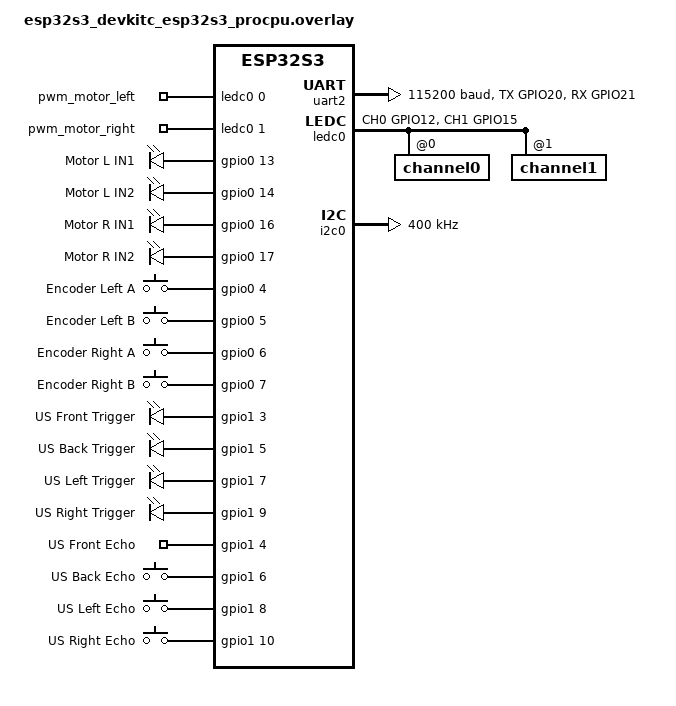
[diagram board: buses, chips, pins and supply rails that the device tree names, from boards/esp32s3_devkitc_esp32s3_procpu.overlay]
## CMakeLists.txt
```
cmake_minimum_required(VERSION 3.20.0)

find_package(Zephyr REQUIRED HINTS $ENV{ZEPHYR_BASE})
project(ecu)

target_include_directories(app PRIVATE inc)

target_sources(app PRIVATE
    src/main.c
    src/motor.c
    src/encoder.c
    src/ultrasonic.c
    src/uart_gateway.c
    src/imu.c
)
```

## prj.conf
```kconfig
CONFIG_ESP32_USE_UNSUPPORTED_REVISION=y

# Peripherals
CONFIG_GPIO=y
CONFIG_PWM=y
CONFIG_SERIAL=y
CONFIG_UART_INTERRUPT_DRIVEN=y
CONFIG_I2C=y

# Stack & threading
CONFIG_MAIN_STACK_SIZE=4096
CONFIG_MAIN_THREAD_PRIORITY=3

# Console & logging
CONFIG_STDOUT_CONSOLE=y
CONFIG_LOG=y
CONFIG_LOG_DEFAULT_LEVEL=3
```

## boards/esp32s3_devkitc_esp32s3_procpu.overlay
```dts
/*
 * Robot Car ECU - Device Tree Overlay
 * Board: ESP32-S3 DevKitC
 *
 * Pinout:
 *   MOTOR_L_ENA  GPIO12  PWM  (LEDC CH0)
 *   MOTOR_L_IN1  GPIO13  GPIO Output
 *   MOTOR_L_IN2  GPIO14  GPIO Output
 *   MOTOR_R_ENA  GPIO15  PWM  (LEDC CH1)
 *   MOTOR_R_IN1  GPIO16  GPIO Output
 *   MOTOR_R_IN2  GPIO17  GPIO Output
 *   ENC_L_A      GPIO4   GPIO Interrupt (both edges)
 *   ENC_L_B      GPIO5   GPIO Interrupt (both edges)
 *   ENC_R_A      GPIO6   GPIO Interrupt (both edges)
 *   ENC_R_B      GPIO7   GPIO Interrupt (both edges)
 *   IMU_SDA      GPIO8   I2C0
 *   IMU_SCL      GPIO9   I2C0
 *   UART2_TX     GPIO20  UART2
 *   UART2_RX     GPIO21  UART2
 *   US_FRONT_TRIG GPIO35 GPIO Output (gpio1 pin 3)
 *   US_FRONT_ECHO GPIO36 GPIO Input Capture ISR (gpio1 pin 4)
 *   US_BACK_TRIG  GPIO37 GPIO Output (gpio1 pin 5)
 *   US_BACK_ECHO  GPIO38 GPIO Input Capture ISR (gpio1 pin 6)
 *   US_LEFT_TRIG  GPIO39 GPIO Output (gpio1 pin 7)
 *   US_LEFT_ECHO  GPIO40 GPIO Input Capture ISR (gpio1 pin 8)
 *   US_RIGHT_TRIG GPIO41 GPIO Output (gpio1 pin 9)
 *   US_RIGHT_ECHO GPIO42 GPIO Input Capture ISR (gpio1 pin 10)
 */

#include <zephyr/dt-bindings/pinctrl/esp32s3-pinctrl.h>
#include <zephyr/dt-bindings/gpio/gpio.h>
#include <zephyr/dt-bindings/pwm/pwm.h>
#include <zephyr/dt-bindings/i2c/i2c.h>

/ {
	aliases {
		pwm-motor-left  = &pwm_motor_left;
		pwm-motor-right = &pwm_motor_right;
	};

	/* PWM Motor Speed Nodes */
	motors {
		compatible = "pwm-leds";
		pwm_motor_left: pwm_motor_left {
			/* LEDC CH0 — GPIO12 — 1 kHz period (1,000,000 ns) */
			pwms = <&ledc0 0 1000000 PWM_POLARITY_NORMAL>;
		};
		pwm_motor_right: pwm_motor_right {
			/* LEDC CH1 — GPIO15 — 1 kHz period (1,000,000 ns) */
			pwms = <&ledc0 1 1000000 PWM_POLARITY_NORMAL>;
		};
	};

	/* Motor Direction GPIO (Outputs) */
	motor_gpios {
		compatible = "gpio-leds";
		motor_l_in1: motor_l_in1 {
			gpios = <&gpio0 13 GPIO_ACTIVE_HIGH>;
			label = "Motor L IN1";
		};
		motor_l_in2: motor_l_in2 {
			gpios = <&gpio0 14 GPIO_ACTIVE_HIGH>;
			label = "Motor L IN2";
		};
		motor_r_in1: motor_r_in1 {
			gpios = <&gpio0 16 GPIO_ACTIVE_HIGH>;
			label = "Motor R IN1";
		};
		motor_r_in2: motor_r_in2 {
			gpios = <&gpio0 17 GPIO_ACTIVE_HIGH>;
			label = "Motor R IN2";
		};
	};

	/* Encoder GPIO (Inputs, quadrature — both edges) */
	encoder_gpios {
		compatible = "gpio-keys";
		enc_l_a: enc_l_a {
			gpios = <&gpio0 4 GPIO_ACTIVE_HIGH>;
			label = "Encoder Left A";
		};
		enc_l_b: enc_l_b {
			gpios = <&gpio0 5 GPIO_ACTIVE_HIGH>;
			label = "Encoder Left B";
		};
		enc_r_a: enc_r_a {
			gpios = <&gpio0 6 GPIO_ACTIVE_HIGH>;
			label = "Encoder Right A";
		};
		enc_r_b: enc_r_b {
			gpios = <&gpio0 7 GPIO_ACTIVE_HIGH>;
			label = "Encoder Right B";
		};
	};

	/* Ultrasonic Trigger GPIO (Outputs) */
	us_trigs {
		compatible = "gpio-leds";
		us_front_trig: us_front_trig {
			gpios = <&gpio1 3 GPIO_ACTIVE_HIGH>; /* GPIO35 */
			label = "US Front Trigger";
		};
		us_back_trig: us_back_trig {
			gpios = <&gpio1 5 GPIO_ACTIVE_HIGH>; /* GPIO37 */
			label = "US Back Trigger";
		};
		us_left_trig: us_left_trig {
			gpios = <&gpio1 7 GPIO_ACTIVE_HIGH>; /* GPIO39 */
			label = "US Left Trigger";
		};
		us_right_trig: us_right_trig {
			gpios = <&gpio1 9 GPIO_ACTIVE_HIGH>; /* GPIO41 */
			label = "US Right Trigger";
		};
	};

	/* Ultrasonic Echo GPIO (Inputs — both edges for input capture) */
	us_echos {
		compatible = "gpio-keys";
		us_front_echo: us_front_echo {
			gpios = <&gpio1 4 (GPIO_ACTIVE_HIGH | GPIO_PULL_DOWN)>; /* GPIO36 */
			label = "US Front Echo";
		};
		us_back_echo: us_back_echo {
			gpios = <&gpio1 6 (GPIO_ACTIVE_HIGH | GPIO_PULL_DOWN)>; /* GPIO38 */
			label = "US Back Echo";
		};
		us_left_echo: us_left_echo {
			gpios = <&gpio1 8 (GPIO_ACTIVE_HIGH | GPIO_PULL_DOWN)>; /* GPIO40 */
			label = "US Left Echo";
		};
		us_right_echo: us_right_echo {
			gpios = <&gpio1 10 (GPIO_ACTIVE_HIGH | GPIO_PULL_DOWN)>; /* GPIO42 */
			label = "US Right Echo";
		};
	};
};

/* ─── Pin Control ─────────────────────────────────────────── */
&pinctrl {
	/* UART2: TX=GPIO20, RX=GPIO21 */
	uart2_default: uart2_default {
		group1 {
			pinmux = <UART2_TX_GPIO20>, <UART2_RX_GPIO21>;
		};
	};
	uart2_sleep: uart2_sleep {
		group1 {
			pinmux = <UART2_TX_GPIO20>, <UART2_RX_GPIO21>;
		};
	};

	/* LEDC: CH0=GPIO12 (motor left), CH1=GPIO15 (motor right) */
	ledc0_default: ledc0_default {
		group1 {
			pinmux = <LEDC_CH0_GPIO12>, <LEDC_CH1_GPIO15>;
		};
	};

	/* I2C0: SDA=GPIO8, SCL=GPIO9 */
	i2c0_default: i2c0_default {
		group1 {
			pinmux = <I2C0_SDA_GPIO8>, <I2C0_SCL_GPIO9>;
			bias-pull-up;
			drive-open-drain;
			output-high;
		};
	};
};

/* ─── UART2 ───────────────────────────────────────────────── */
&uart2 {
	status = "okay";
	current-speed = <115200>;
	pinctrl-0 = <&uart2_default>;
	pinctrl-1 = <&uart2_sleep>;
	pinctrl-names = "default", "sleep";
};

/* ─── LEDC (Motor PWM) ────────────────────────────────────── */
&ledc0 {
	pinctrl-0 = <&ledc0_default>;
	pinctrl-names = "default";
	status = "okay";
	#address-cells = <1>;
	#size-cells = <0>;

	/* Timer 0: shared by both motor channels */
	channel0@0 {
		reg = <0>;
		timer = <0>;
	};
	channel1@1 {
		reg = <1>;
		timer = <0>;
	};
};

/* ─── I2C0 (IMU — MPU6050 or similar) ───────────────────── */
&i2c0 {
	status = "okay";
	clock-frequency = <I2C_BITRATE_FAST>; /* 400 kHz */
	pinctrl-0 = <&i2c0_default>;
	pinctrl-names = "default";
	#address-cells = <1>;
	#size-cells = <0>;
	/* Add IMU child node here, e.g.:
	 * mpu6050@68 { compatible = "invensense,mpu6050"; reg = <0x68>; ... };
	 */
};
```

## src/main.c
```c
/*
 * main.c — Main ECU Telemetry & Control Loop
 */

#include <zephyr/kernel.h>
#include <zephyr/logging/log.h>

#include "motor.h"
#include "encoder.h"
#include "ultrasonic.h"
#include "imu.h"
#include "uart_gateway.h"

LOG_MODULE_REGISTER(main, LOG_LEVEL_INF);

int main(void){
	LOG_INF("Robot Car ECU starting...");

	if(motor_init() < 0){
		LOG_ERR("Failed to initialize motors");
		return -1;
	}

	if(encoder_init() < 0){
		LOG_ERR("Failed to initialize encoders");
		return -1;
	}

	if(ultrasonic_init() < 0){
		LOG_ERR("Failed to initialize ultrasonics");
		return -1;
	}

	if(imu_init() < 0){
		LOG_ERR("Failed to initialize IMU");
		return -1;
	}


	if(uart_gateway_init() < 0){
		LOG_ERR("Failed to initialize UART Gateway");
		return -1;
	}

	LOG_INF("All modules initialized. Starting 10 Hz telemetry loop.");

	while(1){
		/* 1. Retrieve latest command from UART gateway */
		int16_t speed_l = 0;
		int16_t speed_r = 0;
		uart_gateway_get_cmd(&speed_l, &speed_r);

		/* 2. Update motor PWMs */
		motor_set(speed_l, speed_r);

		/* 3. Retrieve latest sensor data */
		uint32_t dist_front = ultrasonic_get_dist(US_FRONT);
		uint32_t dist_back  = ultrasonic_get_dist(US_BACK);
		uint32_t dist_left  = ultrasonic_get_dist(US_LEFT);
		uint32_t dist_right = ultrasonic_get_dist(US_RIGHT);

		int32_t ticks_l = encoder_get_left();
		int32_t ticks_r = encoder_get_right();

		/* 4. Transmit status frame */
		uart_gateway_send_telemetry(
			dist_front, dist_back, dist_left, dist_right,
			ticks_l, ticks_r
		);

		/* 5. Sleep until next cycle(100 ms = 10 Hz) */
		k_msleep(100);
	}

	return 0;
}
```

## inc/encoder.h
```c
#ifndef ENCODER_H
#define ENCODER_H

#include <stdint.h>

/**
 * encoder_init() - Configure quadrature encoder GPIO interrupts.
 *
 * Both A and B channels of each encoder are set up with both-edge
 * interrupts to achieve X4 quadrature decoding.
 *
 * Return: 0 on success, negative errno on failure.
 */
int encoder_init(void);

/**
 * encoder_get_left()  - Read left  wheel tick counter (signed).
 * encoder_get_right() - Read right wheel tick counter (signed).
 *
 * Positive = forward, negative = reverse.
 * Counters are never reset automatically; call encoder_reset() if needed.
 */
int32_t encoder_get_left(void);
int32_t encoder_get_right(void);

/**
 * encoder_reset() - Zero both tick counters.
 */
void encoder_reset(void);

#endif /* ENCODER_H */
```

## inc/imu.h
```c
#ifndef IMU_H
#define IMU_H

#include <stdint.h>

/**
 * @brief Initialize the IMU (MPU6050) and start its 100Hz reading thread.
 * @return 0 on success, negative error code on failure.
 */
int imu_init(void);

#endif /* IMU_H */
```

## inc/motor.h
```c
#ifndef MOTOR_H
#define MOTOR_H

#include <stdint.h>

/**
 * motor_init() - Configure PWM and direction GPIO pins for both motors.
 *
 * Must be called once before motor_set().
 * Return: 0 on success, negative errno on failure.
 */
int motor_init(void);

/**
 * motor_set() - Apply speed and direction to both motors.
 *
 * @speed_l: Left  motor speed (-255 = full reverse, +255 = full forward, 0 = stop)
 * @speed_r: Right motor speed (-255 = full reverse, +255 = full forward, 0 = stop)
 *
 * Values outside [-255, 255] are clamped automatically.
 */
void motor_set(int16_t speed_l, int16_t speed_r);

#endif /* MOTOR_H */
```

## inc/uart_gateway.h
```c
#ifndef UART_GATEWAY_H
#define UART_GATEWAY_H

#include <stdint.h>

/**
 * uart_gateway_init() - Set up UART2 with interrupt-driven RX.
 *
 * Must be called once before any other uart_gateway_* function.
 * Return: 0 on success, negative errno on failure.
 */
int uart_gateway_init(void);

/**
 * uart_gateway_get_cmd() - Retrieve the latest parsed motor command.
 *
 * Thread-safe (mutex protected). Returns the last command received
 * via "M,<left>,<right>\n". Values are 0,0 until first command arrives.
 *
 * @speed_l: Output — left  motor speed (-255 to +255)
 * @speed_r: Output — right motor speed (-255 to +255)
 */
void uart_gateway_get_cmd(int16_t *speed_l, int16_t *speed_r);

/**
 * uart_gateway_send_telemetry() - Transmit one telemetry frame over UART.
 *
 * Sends: "T,<front>,<back>,<left>,<right>,<enc_l>,<enc_r>\n"
 *
 * @dist_front: Front ultrasonic distance in cm
 * @dist_back:  Back  ultrasonic distance in cm
 * @dist_left:  Left  ultrasonic distance in cm
 * @dist_right: Right ultrasonic distance in cm
 * @enc_l:      Left  encoder tick count (signed)
 * @enc_r:      Right encoder tick count (signed)
 */
void uart_gateway_send_telemetry(uint32_t dist_front, uint32_t dist_back,
				 uint32_t dist_left,  uint32_t dist_right,
				 int32_t  enc_l,      int32_t  enc_r);

/**
 * uart_gateway_send_imu() - Transmit one IMU 6-axis frame over UART.
 *
 * Sends: "I,<ax>,<ay>,<az>,<gx>,<gy>,<gz>\n"
 *
 * @ax, ay, az: Accelerometer raw readings
 * @gx, gy, gz: Gyroscope raw readings
 */
void uart_gateway_send_imu(int16_t ax, int16_t ay, int16_t az,
			   int16_t gx, int16_t gy, int16_t gz);

#endif /* UART_GATEWAY_H */
```

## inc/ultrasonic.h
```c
#ifndef ULTRASONIC_H
#define ULTRASONIC_H

#include <stdint.h>

/** Sensor index constants */
#define US_FRONT  0
#define US_BACK   1
#define US_LEFT   2
#define US_RIGHT  3
#define US_COUNT  4

/**
 * ultrasonic_init() - Configure TRIG outputs, ECHO input-capture ISRs,
 *                     and start the four trigger threads.
 *
 * Return: 0 on success, negative errno on failure.
 */
int ultrasonic_init(void);

/**
 * ultrasonic_get_dist() - Read latest distance measurement for a sensor.
 *
 * @idx: Sensor index (US_FRONT / US_BACK / US_LEFT / US_RIGHT)
 *
 * Return: Distance in cm, or 999 if out of range / timeout.
 */
uint32_t ultrasonic_get_dist(int idx);

#endif /* ULTRASONIC_H */
```

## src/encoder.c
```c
/*
 * encoder.c — Quadrature wheel encoder decoding via GPIO interrupts
 *
 * Pins (from device tree):
 *   ENC_L_A  GPIO4   Both-edge interrupt
 *   ENC_L_B  GPIO5   Both-edge interrupt
 *   ENC_R_A  GPIO6   Both-edge interrupt
 *   ENC_R_B  GPIO7   Both-edge interrupt
 *
 * Decode strategy (X4 — all edges of A and B):
 *   A-edge ISR: if A==B → forward (+1), else reverse (-1)
 *   B-edge ISR: if A!=B → forward (+1), else reverse (-1)
 */

#include "encoder.h"

#include <zephyr/kernel.h>
#include <zephyr/drivers/gpio.h>
#include <zephyr/sys/util.h>
#include <zephyr/logging/log.h>

LOG_MODULE_REGISTER(encoder, LOG_LEVEL_INF);

/* ── Hardware bindings ─────────────────────────────────────── */

static const struct gpio_dt_spec enc_l_a =
	GPIO_DT_SPEC_GET(DT_NODELABEL(enc_l_a), gpios);
static const struct gpio_dt_spec enc_l_b =
	GPIO_DT_SPEC_GET(DT_NODELABEL(enc_l_b), gpios);
static const struct gpio_dt_spec enc_r_a =
	GPIO_DT_SPEC_GET(DT_NODELABEL(enc_r_a), gpios);
static const struct gpio_dt_spec enc_r_b =
	GPIO_DT_SPEC_GET(DT_NODELABEL(enc_r_b), gpios);

/* ── State ─────────────────────────────────────────────────── */

static volatile int32_t ticks_l;
static volatile int32_t ticks_r;

static struct gpio_callback enc_l_a_cb;
static struct gpio_callback enc_l_b_cb;
static struct gpio_callback enc_r_a_cb;
static struct gpio_callback enc_r_b_cb;

/* ── ISRs ──────────────────────────────────────────────────── */

static void enc_l_a_isr(const struct device *dev,
			 struct gpio_callback *cb, uint32_t pins)
{
	int a = gpio_pin_get_dt(&enc_l_a);
	int b = gpio_pin_get_dt(&enc_l_b);

	ticks_l += (a == b) ? 1 : -1;
}

static void enc_l_b_isr(const struct device *dev,
			 struct gpio_callback *cb, uint32_t pins)
{
	int a = gpio_pin_get_dt(&enc_l_a);
	int b = gpio_pin_get_dt(&enc_l_b);

	ticks_l += (a != b) ? 1 : -1;
}

static void enc_r_a_isr(const struct device *dev,
			 struct gpio_callback *cb, uint32_t pins)
{
	int a = gpio_pin_get_dt(&enc_r_a);
	int b = gpio_pin_get_dt(&enc_r_b);

	ticks_r += (a == b) ? 1 : -1;
}

static void enc_r_b_isr(const struct device *dev,
			 struct gpio_callback *cb, uint32_t pins)
{
	int a = gpio_pin_get_dt(&enc_r_a);
	int b = gpio_pin_get_dt(&enc_r_b);

	ticks_r += (a != b) ? 1 : -1;
}

/* ── Public API ────────────────────────────────────────────── */

int encoder_init(void)
{
	/* Descriptor table — makes the init loop compact and uniform */
	const struct {
		const struct gpio_dt_spec *spec;
		struct gpio_callback      *cb;
		gpio_callback_handler_t    handler;
	} pins[] = {
		{ &enc_l_a, &enc_l_a_cb, enc_l_a_isr },
		{ &enc_l_b, &enc_l_b_cb, enc_l_b_isr },
		{ &enc_r_a, &enc_r_a_cb, enc_r_a_isr },
		{ &enc_r_b, &enc_r_b_cb, enc_r_b_isr },
	};

	for (int i = 0; i < ARRAY_SIZE(pins); i++) {
		gpio_pin_configure_dt(pins[i].spec, GPIO_INPUT | GPIO_PULL_UP);
		gpio_pin_interrupt_configure_dt(pins[i].spec,
						GPIO_INT_EDGE_BOTH);
		gpio_init_callback(pins[i].cb, pins[i].handler,
				   BIT(pins[i].spec->pin));
		gpio_add_callback(pins[i].spec->port, pins[i].cb);
	}

	LOG_INF("Encoders initialized (X4 quadrature)");
	return 0;
}

int32_t encoder_get_left(void)
{
	return ticks_l;
}

int32_t encoder_get_right(void)
{
	return ticks_r;
}

void encoder_reset(void)
{
	ticks_l = 0;
	ticks_r = 0;
}
```

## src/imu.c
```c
/*
 * imu.c — MPU6050 6-axis IMU reader
 *
 * Runs a dedicated thread at 100 Hz (10ms) that reads raw 
 * accelerometer and gyroscope data over I2C0 and streams it
 * to UART using uart_gateway_send_imu().
 */

#include "imu.h"
#include "uart_gateway.h"

#include <zephyr/kernel.h>
#include <zephyr/device.h>
#include <zephyr/drivers/i2c.h>
#include <zephyr/logging/log.h>

LOG_MODULE_REGISTER(imu, LOG_LEVEL_INF);

#define MPU6050_ADDR 0x68

static const struct device *i2c_dev = DEVICE_DT_GET(DT_NODELABEL(i2c0));

#define IMU_THREAD_STACK_SIZE 2048
#define IMU_THREAD_PRIORITY   5

K_THREAD_STACK_DEFINE(imu_stack, IMU_THREAD_STACK_SIZE);
static struct k_thread imu_thread_data;

/* Helper to write a single register to MPU6050 */
static int mpu_write_reg(uint8_t reg, uint8_t val)
{
	uint8_t buf[2] = {reg, val};
	return i2c_write(i2c_dev, buf, 2, MPU6050_ADDR);
}

static void imu_thread(void *arg1, void *arg2, void *arg3)
{
	ARG_UNUSED(arg1);
	ARG_UNUSED(arg2);
	ARG_UNUSED(arg3);

	while (1) {
		uint8_t reg = 0x3B; /* ACCEL_XOUT_H */
		uint8_t data[14];

		/* Read 14 bytes (Accel, Temp, Gyro) in one burst */
		int ret = i2c_write_read(i2c_dev, MPU6050_ADDR, &reg, 1, data, 14);
		if (ret == 0) {
			int16_t ax = (data[0] << 8) | data[1];
			int16_t ay = (data[2] << 8) | data[3];
			int16_t az = (data[4] << 8) | data[5];
			
			/* Skip temperature: data[6], data[7] */
			
			int16_t gx = (data[8] << 8)  | data[9];
			int16_t gy = (data[10] << 8) | data[11];
			int16_t gz = (data[12] << 8) | data[13];

			uart_gateway_send_imu(ax, ay, az, gx, gy, gz);
		} else {
			LOG_WRN("IMU I2C read failed: %d", ret);
		}

		k_msleep(10); /* 100 Hz */
	}
}

int imu_init(void)
{
	if (!device_is_ready(i2c_dev)) {
		LOG_ERR("I2C0 device not ready");
		return -ENODEV;
	}

	/* 1. Device Reset */
	mpu_write_reg(0x6B, 0x80);
	k_msleep(100);

	/* 2. Wake up (Clear sleep bit) */
	mpu_write_reg(0x6B, 0x00);
	k_msleep(100);

	/* 3. Set Gyro Full Scale (+/- 500 deg/s) */
	mpu_write_reg(0x1B, 0x08);

	/* 4. Set Accel Full Scale (+/- 4g) */
	mpu_write_reg(0x1C, 0x08);

	/* 5. Verify WHO_AM_I */
	uint8_t reg = 0x75;
	uint8_t who = 0;
	if (i2c_write_read(i2c_dev, MPU6050_ADDR, &reg, 1, &who, 1) == 0) {
		LOG_INF("MPU6050 WHO_AM_I = 0x%02X", who);
		if (who != 0x68) {
			LOG_WRN("Unexpected WHO_AM_I (expected 0x68)");
		}
	} else {
		LOG_ERR("Failed to read WHO_AM_I");
		return -EIO;
	}

	/* Spawn 100Hz IMU reader thread */
	k_thread_create(&imu_thread_data,
			imu_stack,
			IMU_THREAD_STACK_SIZE,
			imu_thread,
			NULL, NULL, NULL,
			IMU_THREAD_PRIORITY,
			0,
			K_NO_WAIT);

	LOG_INF("IMU initialized (100 Hz streaming)");
	return 0;
}
```

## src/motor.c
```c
/*
 * motor.c — DC motor control via LEDC PWM + GPIO direction pins
 *
 * Pins (from device tree):
 *   MOTOR_L_ENA  GPIO12  LEDC CH0 (PWM speed)
 *   MOTOR_L_IN1  GPIO13  GPIO Output (direction)
 *   MOTOR_L_IN2  GPIO14  GPIO Output (direction)
 *   MOTOR_R_ENA  GPIO15  LEDC CH1 (PWM speed)
 *   MOTOR_R_IN1  GPIO16  GPIO Output (direction)
 *   MOTOR_R_IN2  GPIO17  GPIO Output (direction)
 */

#include "motor.h"

#include <zephyr/kernel.h>
#include <zephyr/drivers/gpio.h>
#include <zephyr/drivers/pwm.h>
#include <zephyr/sys/util.h>
#include <zephyr/logging/log.h>
#include <stdlib.h>

LOG_MODULE_REGISTER(motor, LOG_LEVEL_INF);

/* ── Hardware bindings ─────────────────────────────────────── */

static const struct pwm_dt_spec motor_l_pwm =
	PWM_DT_SPEC_GET(DT_NODELABEL(pwm_motor_left));
static const struct pwm_dt_spec motor_r_pwm =
	PWM_DT_SPEC_GET(DT_NODELABEL(pwm_motor_right));

static const struct gpio_dt_spec motor_l_in1 =
	GPIO_DT_SPEC_GET(DT_NODELABEL(motor_l_in1), gpios);
static const struct gpio_dt_spec motor_l_in2 =
	GPIO_DT_SPEC_GET(DT_NODELABEL(motor_l_in2), gpios);
static const struct gpio_dt_spec motor_r_in1 =
	GPIO_DT_SPEC_GET(DT_NODELABEL(motor_r_in1), gpios);
static const struct gpio_dt_spec motor_r_in2 =
	GPIO_DT_SPEC_GET(DT_NODELABEL(motor_r_in2), gpios);

/* ── Public API ────────────────────────────────────────────── */

int motor_init(void){
	if(!pwm_is_ready_dt(&motor_l_pwm) ||
	    !pwm_is_ready_dt(&motor_r_pwm)){
		LOG_ERR("PWM devices not ready");
		return -ENODEV;
	}

	gpio_pin_configure_dt(&motor_l_in1, GPIO_OUTPUT_INACTIVE);
	gpio_pin_configure_dt(&motor_l_in2, GPIO_OUTPUT_INACTIVE);
	gpio_pin_configure_dt(&motor_r_in1, GPIO_OUTPUT_INACTIVE);
	gpio_pin_configure_dt(&motor_r_in2, GPIO_OUTPUT_INACTIVE);

	/* Start stopped */
	motor_set(0, 0);

	LOG_INF("Motors initialized");
	return 0;
}

void motor_set(int16_t speed_l, int16_t speed_r){
	speed_l = CLAMP(speed_l, -255, 255);
	speed_r = CLAMP(speed_r, -255, 255);

	/* Left motor — direction */
	gpio_pin_set_dt(&motor_l_in1, speed_l >= 0 ? 1 : 0);
	gpio_pin_set_dt(&motor_l_in2, speed_l >= 0 ? 0 : 1);

	/* Right motor — direction */
	gpio_pin_set_dt(&motor_r_in1, speed_r >= 0 ? 1 : 0);
	gpio_pin_set_dt(&motor_r_in2, speed_r >= 0 ? 0 : 1);

	/* PWM duty: map |speed| (0-255) → pulse width (0–period_ns) */
	uint32_t pulse_l =
		(motor_l_pwm.period * (uint32_t)abs(speed_l)) / 255U;
	uint32_t pulse_r =
		(motor_r_pwm.period * (uint32_t)abs(speed_r)) / 255U;

	pwm_set_pulse_dt(&motor_l_pwm, pulse_l);
	pwm_set_pulse_dt(&motor_r_pwm, pulse_r);
}
```

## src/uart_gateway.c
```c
/*
 * uart_gateway.c — UART Communication Gateway
 *
 * Supported commands (RX):
 *   "PING\n"          → replies "PONG\n"  (connectivity test)
 *   "M,<L>,<R>\n"    → sets motor speeds, e.g. "M,200,-150\n"
 *
 * Telemetry (TX, 10 Hz via uart_gateway_send_telemetry):
 *   "T,<front>,<back>,<left>,<right>,<enc_l>,<enc_r>\n"
 */

#include "uart_gateway.h"

#include <zephyr/kernel.h>
#include <zephyr/device.h>
#include <zephyr/drivers/uart.h>
#include <zephyr/logging/log.h>
#include <stdio.h>
#include <stdlib.h>
#include <string.h>

LOG_MODULE_REGISTER(uart_gateway, LOG_LEVEL_INF);

/* ── Hardware bindings ─────────────────────────────────────── */
static const struct device *const uart2_dev =
	DEVICE_DT_GET(DT_NODELABEL(uart2));

/* ── State ─────────────────────────────────────────────────── */
static int16_t cmd_speed_l;
static int16_t cmd_speed_r;
K_MUTEX_DEFINE(cmd_mutex);

#define UART_RX_BUF_LEN 64
static uint8_t rx_buf[UART_RX_BUF_LEN];
static int     rx_idx;

/* ── Internal TX helper (used inside ISR-safe context too) ─── */
static void send_raw(const char *str)
{
	while (*str) {
		uart_poll_out(uart2_dev, (uint8_t)(*str++));
	}
}

/* ── Receive Callback ──────────────────────────────────────── */
static void uart_cb(const struct device *dev, void *user_data){
	if(!uart_irq_update(dev)){
		return;
	}

	if(!uart_irq_rx_ready(dev)){
		return;
	}

	uint8_t c;

	while (uart_fifo_read(dev, &c, 1) == 1) {
		if (c == '\n' || c == '\r') {
			if (rx_idx > 0) {
				rx_buf[rx_idx] = '\0';

				/* ── PING test command ─────────────────── */
				if (strcmp((char *)rx_buf, "PING") == 0) {
					send_raw("PONG\n");

				/* ── Motor speed command ───────────────── */
				} else if (rx_idx >= 5 &&
					   rx_buf[0] == 'M' &&
					   rx_buf[1] == ',') {
					int l = 0, r = 0;

					if (sscanf((char *)&rx_buf[2],
						    "%d,%d", &l, &r) == 2) {
						k_mutex_lock(&cmd_mutex, K_NO_WAIT);
						cmd_speed_l = (int16_t)l;
						cmd_speed_r = (int16_t)r;
						k_mutex_unlock(&cmd_mutex);
					}
				}
			}
			rx_idx = 0;
		} else if (rx_idx < UART_RX_BUF_LEN - 1) {
			rx_buf[rx_idx++] = c;
		}
	}
}

int uart_gateway_init(void)
{
	if (!device_is_ready(uart2_dev)) {
		LOG_ERR("UART2 device not ready");
		return -ENODEV;
	}

	uart_irq_callback_user_data_set(uart2_dev, uart_cb, NULL);
	uart_irq_rx_enable(uart2_dev);

	/* Send boot banner so the laptop knows the ECU is alive */
	send_raw("ECU_READY\n");

	LOG_INF("UART Gateway initialized (115200 baud)");
	return 0;
}

void uart_gateway_get_cmd(int16_t *speed_l, int16_t *speed_r){
	if(speed_l == NULL || speed_r == NULL){
		return;
	}

	k_mutex_lock(&cmd_mutex, K_FOREVER);
	*speed_l = cmd_speed_l;
	*speed_r = cmd_speed_r;
	k_mutex_unlock(&cmd_mutex);
}

void uart_gateway_send_telemetry(uint32_t dist_front, uint32_t dist_back, uint32_t dist_left,  uint32_t dist_right, int32_t  enc_l, int32_t  enc_r){
	char tx_buf[96];

	snprintf(tx_buf, sizeof(tx_buf), "T,%u,%u,%u,%u,%d,%d\n", (unsigned)dist_front, (unsigned)dist_back, (unsigned)dist_left, (unsigned)dist_right, enc_l, enc_r);

	char *p = tx_buf;
	while(*p){
		uart_poll_out(uart2_dev, (uint8_t)(*p++));
	}
}

void uart_gateway_send_imu(int16_t ax, int16_t ay, int16_t az,
			   int16_t gx, int16_t gy, int16_t gz)
{
	char tx_buf[64];
	snprintf(tx_buf, sizeof(tx_buf), "I,%d,%d,%d,%d,%d,%d\n",
		 ax, ay, az, gx, gy, gz);
	// LOG_INF("Sending IMU data, ax=%d, ay=%d, az=%d, gx=%d, gy=%d, gz=%d",
	// 	ax, ay, az, gx, gy, gz);

	char *p = tx_buf;
	while (*p) {
		uart_poll_out(uart2_dev, (uint8_t)(*p++));
	}
}
```

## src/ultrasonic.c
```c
/*
 * ultrasonic.c — HC-SR04 distance measurement via GPIO ISR + RTOS state machine
 *
 * Race condition prevention:
 *   Each sensor has a state machine (IDLE / ARMED / CAPTURING).
 *   The ISR only acts when the trigger thread has explicitly moved the
 *   state to ARMED or CAPTURING.  Any edge received while IDLE is silently
 *   discarded, so noise between measurements cannot corrupt results.
 *
 *   Flow per measurement cycle:
 *     Thread                        ISR
 *     ──────────────────────────    ───────────────────────────────────
 *     k_sem_reset()                 (flush any stale gives)
 *     state = ARMED
 *     fire TRIG pulse
 *     k_sem_take(K_MSEC(30)) ──┐
 *                               │   rising edge → state==ARMED?
 *                               │     record rise timestamp
 *                               │     state = CAPTURING
 *                               │
 *                               │   falling edge → state==CAPTURING?
 *                               │     compute distance
 *                               │     state = IDLE
 *                               └── k_sem_give()
 *     state = IDLE (disarm)
 *     if timeout: dist = 999
 *     k_msleep(100)
 *
 * With GPIO_PULL_DOWN on ECHO pins:
 *   - No sensor connected → pin stays LOW → no rising edge → timeout → 999 cm
 *   - Real HC-SR04 connected → echo pulse drives pin HIGH → ISR fires correctly
 *
 * Pins (device tree, gpio1 = GPIO32+):
 *   US_FRONT_TRIG  GPIO35  Output
 *   US_FRONT_ECHO  GPIO36  Input (pull-down, both-edge ISR)
 *   US_BACK_TRIG   GPIO37  Output
 *   US_BACK_ECHO   GPIO38  Input (pull-down, both-edge ISR)
 *   US_LEFT_TRIG   GPIO39  Output
 *   US_LEFT_ECHO   GPIO40  Input (pull-down, both-edge ISR)
 *   US_RIGHT_TRIG  GPIO41  Output
 *   US_RIGHT_ECHO  GPIO42  Input (pull-down, both-edge ISR)
 */

#include "ultrasonic.h"

#include <zephyr/kernel.h>
#include <zephyr/drivers/gpio.h>
#include <zephyr/sys/util.h>
#include <zephyr/sys/time_units.h>
#include <zephyr/logging/log.h>

LOG_MODULE_REGISTER(ultrasonic, LOG_LEVEL_INF);

/* ── Sensor state machine ──────────────────────────────────── */

typedef enum {
	US_IDLE = 0,   /* Between measurements — ISR ignores all edges */
	US_ARMED,      /* TRIG fired — ISR waiting for rising edge     */
	US_CAPTURING,  /* Rising edge caught — ISR waiting for falling  */
} us_state_t;

/* ── Per-sensor data ───────────────────────────────────────── */

static volatile us_state_t us_state[US_COUNT];   /* State machine       */
static volatile uint32_t   us_rise_cyc[US_COUNT]; /* Rising edge timestamp */
static volatile uint32_t   us_dist_cm[US_COUNT];  /* Latest distance (cm)  */

static struct k_sem         us_sem[US_COUNT];      /* Thread ↔ ISR sync   */
static struct gpio_callback us_echo_cb[US_COUNT];

/* ── Hardware bindings ─────────────────────────────────────── */

static const struct gpio_dt_spec us_trig[US_COUNT] = {
	GPIO_DT_SPEC_GET(DT_NODELABEL(us_front_trig), gpios),
	GPIO_DT_SPEC_GET(DT_NODELABEL(us_back_trig),  gpios),
	GPIO_DT_SPEC_GET(DT_NODELABEL(us_left_trig),  gpios),
	GPIO_DT_SPEC_GET(DT_NODELABEL(us_right_trig), gpios),
};

static const struct gpio_dt_spec us_echo[US_COUNT] = {
	GPIO_DT_SPEC_GET(DT_NODELABEL(us_front_echo), gpios),
	GPIO_DT_SPEC_GET(DT_NODELABEL(us_back_echo),  gpios),
	GPIO_DT_SPEC_GET(DT_NODELABEL(us_left_echo),  gpios),
	GPIO_DT_SPEC_GET(DT_NODELABEL(us_right_echo), gpios),
};

/* ── ISR ───────────────────────────────────────────────────── */

static void echo_isr_generic(int idx)
{
	if (us_state[idx] == US_ARMED) {
		/*
		 * First interrupt after TRIG = rising edge (HC-SR04 drives
		 * ECHO HIGH to signal start of pulse). Latch timestamp and
		 * advance state — do NOT call gpio_pin_get_dt() here; reading
		 * the pin level inside an ISR on ESP32-S3 is unreliable.
		 */
		us_rise_cyc[idx] = k_cycle_get_32();
		us_state[idx]    = US_CAPTURING;

	} else if (us_state[idx] == US_CAPTURING) {
		/*
		 * Second interrupt = falling edge (HC-SR04 drives ECHO LOW
		 * to signal end of pulse). Compute distance and signal thread.
		 */
		uint32_t elapsed_us =
			k_cyc_to_us_near32(k_cycle_get_32() - us_rise_cyc[idx]);

		uint32_t dist = elapsed_us / 58U;

		us_dist_cm[idx] = (elapsed_us < 116U || dist > 400U)
				  ? 999U : dist;

		us_state[idx] = US_IDLE;
		k_sem_give(&us_sem[idx]);

	}
	/* US_IDLE: discard — spurious edge between cycles */
}

/* One wrapper per sensor (Zephyr requires a unique function pointer) */
static void echo_isr_0(const struct device *d, struct gpio_callback *c, uint32_t p)
{
	ARG_UNUSED(d); ARG_UNUSED(c); ARG_UNUSED(p);
	echo_isr_generic(US_FRONT);
}
static void echo_isr_1(const struct device *d, struct gpio_callback *c, uint32_t p)
{
	ARG_UNUSED(d); ARG_UNUSED(c); ARG_UNUSED(p);
	echo_isr_generic(US_BACK);
}
static void echo_isr_2(const struct device *d, struct gpio_callback *c, uint32_t p)
{
	ARG_UNUSED(d); ARG_UNUSED(c); ARG_UNUSED(p);
	echo_isr_generic(US_LEFT);
}
static void echo_isr_3(const struct device *d, struct gpio_callback *c, uint32_t p)
{
	ARG_UNUSED(d); ARG_UNUSED(c); ARG_UNUSED(p);
	echo_isr_generic(US_RIGHT);
}

typedef void (*echo_isr_fn)(const struct device *, struct gpio_callback *, uint32_t);

static const echo_isr_fn echo_isr_table[US_COUNT] = {
	echo_isr_0, echo_isr_1, echo_isr_2, echo_isr_3,
};

/* ── Trigger Thread (1 per sensor) ────────────────────────── */

static void us_trigger_thread(void *arg1, void *arg2, void *arg3)
{
	int idx = (int)(intptr_t)arg1;

	ARG_UNUSED(arg2);
	ARG_UNUSED(arg3);

	while (1) {
		/*
		 * 1. Flush any stale semaphore give from a previous cycle
		 *    (e.g. if a spurious edge arrived during k_msleep).
		 */
		k_sem_reset(&us_sem[idx]);

		/*
		 * 2. Transition to ARMED — ISR will now accept a rising edge.
		 *    Do this BEFORE firing TRIG so no edge is missed.
		 */
		us_state[idx] = US_ARMED;

		/* 3. Fire 10 µs TRIG pulse */
		gpio_pin_set_dt(&us_trig[idx], 1);
		k_busy_wait(10);
		gpio_pin_set_dt(&us_trig[idx], 0);

		/*
		 * 4. Block until ISR gives the semaphore (measurement done)
		 *    or until 30 ms timeout (≈ 5 m max range).
		 */
		int ret = k_sem_take(&us_sem[idx], K_MSEC(30));

		/*
		 * 5. Disarm — any further ISR edges are discarded until
		 *    the next cycle arms the state machine again.
		 */
		us_state[idx] = US_IDLE;

		if (ret == -EAGAIN) {
			/* Timeout: no echo received — sensor absent / out of range */
			us_dist_cm[idx] = 999U;
		}

		/* HC-SR04 needs ≥ 60 ms between pings; yield CPU during wait */
		k_msleep(100);
	}
}

/* ── Thread infrastructure ─────────────────────────────────── */

#define US_THREAD_STACK_SIZE  2048
#define US_THREAD_PRIORITY    5

K_THREAD_STACK_DEFINE(us_stack_0, US_THREAD_STACK_SIZE);
K_THREAD_STACK_DEFINE(us_stack_1, US_THREAD_STACK_SIZE);
K_THREAD_STACK_DEFINE(us_stack_2, US_THREAD_STACK_SIZE);
K_THREAD_STACK_DEFINE(us_stack_3, US_THREAD_STACK_SIZE);

static struct k_thread us_thread_data[US_COUNT];

static k_thread_stack_t *const us_stacks[US_COUNT] = {
	us_stack_0, us_stack_1, us_stack_2, us_stack_3,
};

/* ── Public API ────────────────────────────────────────────── */

int ultrasonic_init(void)
{
	for (int i = 0; i < US_COUNT; i++) {
		/* Init semaphore: count=0, max=1 */
		k_sem_init(&us_sem[i], 0, 1);

		/* Start in IDLE — ISR ignores edges until thread arms it */
		us_state[i] = US_IDLE;

		/* Configure TRIG as output (LOW) */
		gpio_pin_configure_dt(&us_trig[i], GPIO_OUTPUT_INACTIVE);

		/*
		 * Configure ECHO as input.
		 * GPIO_PULL_DOWN is baked into the DT overlay flags so that
		 * an unconnected pin reads LOW and never triggers the ISR.
		 */
		gpio_pin_configure_dt(&us_echo[i], GPIO_INPUT);

		/* Register both-edge ISR */
		gpio_pin_interrupt_configure_dt(&us_echo[i],
						GPIO_INT_EDGE_BOTH);
		gpio_init_callback(&us_echo_cb[i], echo_isr_table[i],
				   BIT(us_echo[i].pin));
		gpio_add_callback(us_echo[i].port, &us_echo_cb[i]);

		/* Spawn trigger thread AFTER hardware is ready */
		k_thread_create(&us_thread_data[i],
				us_stacks[i],
				US_THREAD_STACK_SIZE,
				us_trigger_thread,
				(void *)(intptr_t)i, NULL, NULL,
				US_THREAD_PRIORITY,
				0,
				K_NO_WAIT);
	}

	LOG_INF("Ultrasonics initialized (4 sensors, ISR + state machine)");
	return 0;
}

uint32_t ultrasonic_get_dist(int idx)
{
	if (idx < 0 || idx >= US_COUNT) {
		return 999U;
	}
	return us_dist_cm[idx];
}
```
